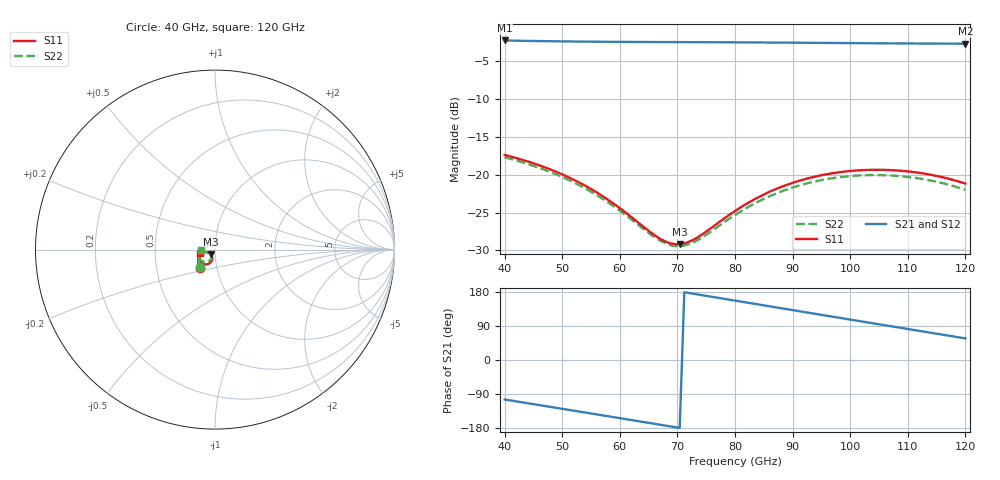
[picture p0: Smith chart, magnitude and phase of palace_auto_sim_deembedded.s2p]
! Created with skrf 1.11.0 (http://scikit-rf.org).
# GHz S DB R 50.0
!freq dBS11 angS11 dBS21 angS21 dBS12 angS12 dBS22 angS22
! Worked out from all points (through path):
!   101 points, 40 GHz to 120 GHz, reference 50 ohm
!   highest |S21| = -2.33 dB at 40 GHz (marker M1); lowest = -2.8 dB at 120 GHz (marker M2)
!   group delay of S21, straight-line fit = 6.92 ps
!   lowest |S11| = -29.2 dB at 70.4 GHz (marker M3), VSWR 1.07, Z = 47.6 - j2.44 ohm
!   |S11| at or under -10 dB: start of sweep to end of sweep
!   |S22| runs from -29.4 to -17.7 dB; largest |S21 - S12| = 8.8e-14
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40  -17.42 -128.9  -2.33 -104.2  -2.33 -104.2  -17.72 -130.5
46.4  -18.89 -144.4  -2.41 -119.9  -2.41 -119.9  -19.22 -146.5
53.6  -21.31 -158.2  -2.48 -137.7  -2.48 -137.7  -21.66 -161.0
57.6  -23.13 -162.8  -2.50 -147.5  -2.50 -147.5  -23.48 -165.9
60.8  -24.88 -163.6  -2.52 -155.4  -2.52 -155.4  -25.21 -167.0
67.2  -28.55 -149.3  -2.54 -171.3  -2.54 -171.3  -28.79 -154.0
68.8  -29.06 -141.3  -2.54 -175.3  -2.54 -175.3  -29.30 -146.6
70.4  -29.17 -132.5  -2.55 -179.3  -2.55 -179.3  -29.43 -138.4
72  -28.86 -124.2  -2.55 176.7  -2.55 176.7  -29.17 -130.5
73.6  -28.23 -117.2  -2.56 172.7  -2.56 172.7  -28.59 -123.9
76.8  -26.52 -108.8  -2.57 164.7  -2.57 164.7  -26.98 -115.9
80  -24.80 -106.3  -2.58 156.7  -2.58 156.7  -25.33 -113.6
83.2  -23.33 -107.4  -2.59 148.7  -2.59 148.7  -23.90 -114.9
86.4  -22.14 -110.6  -2.60 140.7  -2.60 140.7  -22.73 -118.3
90.4  -20.99 -116.2  -2.62 130.7  -2.62 130.7  -21.61 -124.2
93.6  -20.32 -121.4  -2.64 122.7  -2.64 122.7  -20.96 -129.7
97.6  -19.75 -128.5  -2.66 112.7  -2.66 112.7  -20.40 -137.2
100.8  -19.48 -134.3  -2.68 104.7  -2.68 104.7  -20.15 -143.3
104  -19.37 -140.2  -2.70 96.7  -2.70 96.7  -20.06 -149.6
107.2  -19.42 -146.0  -2.71 88.8  -2.71 88.8  -20.13 -155.7
113.6  -19.97 -157.2  -2.74 72.9  -2.74 72.9  -20.73 -167.6
120  -21.20 -166.8  -2.76 57.0  -2.76 57.0  -22.01 -178.0
